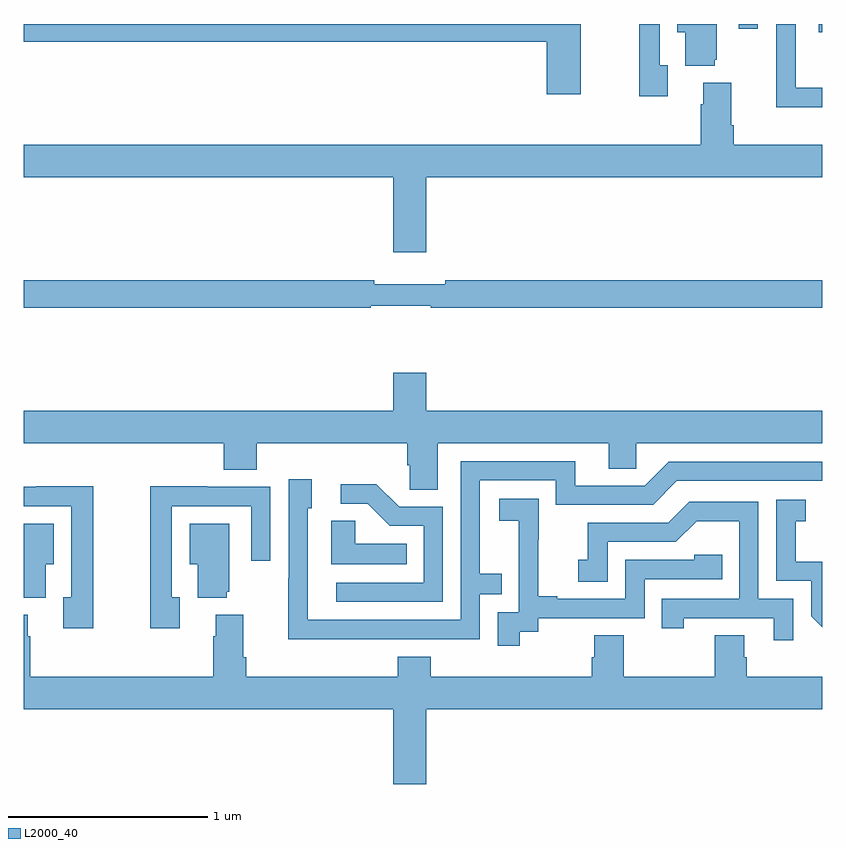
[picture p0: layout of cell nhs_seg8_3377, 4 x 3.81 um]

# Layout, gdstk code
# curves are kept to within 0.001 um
import gdstk
lib = gdstk.Library(unit=1e-6, precision=1e-09)
def R(c, l, rs):  # rectangles x0, y0, x1, y1
    for r in rs: c.add(gdstk.rectangle(r[:2], r[2:], *l))
def P(c, l, *ps):  # polygons
    for p in ps: c.add(gdstk.Polygon(p, *l))
L2000_40 = (2000, 40)

nhs_seg8_3377 = lib.new_cell('nhs_seg8_3377')
R(nhs_seg8_3377, L2000_40, [(322.982,1151.858,323,1151.9), (322.581,1151.877,322.677,1151.9)])
P(nhs_seg8_3377, L2000_40, [(322.46,1151.721),(322.471,1151.721),(322.471,1151.9),(322.274,1151.9),(322.274,1151.858),(322.313,1151.858),(322.313,1151.69),(322.46,1151.69)],
  [(321.79,1151.9),(319,1151.9),(319,1151.812),(321.62,1151.812),(321.62,1151.547),(321.79,1151.547)],
  [(322.225,1151.694),(322.185,1151.694),(322.185,1151.9),(322.084,1151.9),(322.084,1151.538),(322.225,1151.538)],
  [(323,1151.58),(322.866,1151.58),(322.866,1151.9),(322.77,1151.9),(322.77,1151.789),(322.768,1151.789),(322.768,1151.483),(323,1151.483)],
  [(321.016,1151.132),(323,1151.132),(323,1151.296),(322.556,1151.296),(322.556,1151.392),(322.543,1151.392),(322.543,1151.605),(322.403,1151.605),(322.403,1151.498),(322.391,1151.498),(322.391,1151.296),(319,1151.296),(319,1151.132),(320.852,1151.132),(320.852,1150.758),(321.016,1150.758)],
  [(320.738,1150.488),(321.038,1150.488),(321.038,1150.48),(323,1150.48),(323,1150.616),(321.112,1150.616),(321.112,1150.597),(320.756,1150.597),(320.756,1150.616),(319,1150.616),(319,1150.48),(320.738,1150.48)],
  [(321.073,1149.8),(321.929,1149.8),(321.929,1149.673),(322.068,1149.673),(322.068,1149.8),(323,1149.8),(323,1149.964),(321.016,1149.964),(321.016,1150.153),(320.852,1150.153),(320.852,1149.964),(319,1149.964),(319,1149.8),(320.003,1149.8),(320.003,1149.667),(320.168,1149.667),(320.168,1149.8),(320.921,1149.8),(320.921,1149.691),(320.934,1149.691),(320.934,1149.568),(321.073,1149.568)],
  [(320.789,1148.82),(321.285,1148.82),(321.285,1149.045),(321.395,1149.045),(321.395,1149.146),(321.285,1149.146),(321.285,1149.615),(321.666,1149.615),(321.666,1149.492),(322.152,1149.492),(322.272,1149.612),(323,1149.612),(323,1149.708),(322.23,1149.708),(322.11,1149.588),(321.763,1149.588),(321.763,1149.711),(321.189,1149.711),(321.189,1148.916),(320.424,1148.916),(320.424,1149.474),(320.443,1149.474),(320.443,1149.619),(320.328,1149.619),(320.328,1149.125),(320.326,1149.125),(320.326,1148.819)],
  [(321.099,1149.483),(320.88,1149.483),(320.767,1149.596),(320.589,1149.596),(320.589,1149.498),(320.723,1149.498),(320.834,1149.387),(321.003,1149.387),(321.003,1149.102),(320.565,1149.102),(320.565,1149.006),(321.099,1149.006)],
  [(319.348,1149.584),(319.063,1149.584),(319.063,1149.582),(319,1149.582),(319,1149.486),(319.239,1149.486),(319.239,1149.03),(319.199,1149.03),(319.199,1148.874),(319.348,1148.874)],
  [(319.783,1149.03),(319.743,1149.03),(319.743,1149.486),(320.139,1149.486),(320.139,1149.213),(320.235,1149.213),(320.235,1149.582),(319.919,1149.582),(319.919,1149.584),(319.635,1149.584),(319.635,1148.874),(319.783,1148.874)],
  [(321.484,1148.857),(321.576,1148.857),(321.576,1148.925),(322.11,1148.925),(322.11,1149.12),(322.499,1149.12),(322.499,1149.243),(322.359,1149.243),(322.359,1149.216),(322.014,1149.216),(322.014,1149.021),(321.673,1149.021),(321.673,1149.034),(321.578,1149.034),(321.578,1149.317),(321.579,1149.317),(321.579,1149.523),(321.381,1149.523),(321.381,1149.413),(321.479,1149.413),(321.479,1149.185),(321.48,1149.185),(321.48,1148.955),(321.375,1148.955),(321.375,1148.787),(321.484,1148.787)],
  [(323,1149.207),(322.867,1149.207),(322.867,1149.411),(322.916,1149.411),(322.916,1149.517),(322.77,1149.517),(322.77,1149.111),(322.944,1149.111),(322.944,1148.934),(323,1148.879)],
  [(322.854,1149.021),(322.68,1149.021),(322.68,1149.507),(322.334,1149.507),(322.229,1149.402),(321.826,1149.402),(321.826,1149.217),(321.777,1149.217),(321.777,1149.108),(321.924,1149.108),(321.924,1149.306),(322.266,1149.306),(322.37,1149.41),(322.584,1149.41),(322.584,1149.021),(322.195,1149.021),(322.195,1148.874),(322.306,1148.874),(322.306,1148.925),(322.757,1148.925),(322.757,1148.814),(322.854,1148.814)],
  [(320.918,1149.298),(320.661,1149.298),(320.661,1149.413),(320.54,1149.413),(320.54,1149.194),(320.918,1149.194)],
  [(320.018,1149.057),(320.029,1149.057),(320.029,1149.397),(319.832,1149.397),(319.832,1149.194),(319.871,1149.194),(319.871,1149.026),(320.018,1149.026)],
  [(319.111,1149.194),(319.15,1149.194),(319.15,1149.397),(319,1149.397),(319,1149.026),(319.111,1149.026)],
  [(319.961,1148.941),(319.961,1148.834),(319.949,1148.834),(319.949,1148.632),(319.034,1148.632),(319.034,1148.834),(319.021,1148.834),(319.021,1148.941),(319,1148.941),(319,1148.468),(320.852,1148.468),(320.852,1148.094),(321.016,1148.094),(321.016,1148.468),(323,1148.468),(323,1148.632),(322.622,1148.632),(322.622,1148.73),(322.609,1148.73),(322.609,1148.84),(322.462,1148.84),(322.462,1148.632),(322.005,1148.632),(322.005,1148.84),(321.857,1148.84),(321.857,1148.73),(321.845,1148.73),(321.845,1148.632),(321.038,1148.632),(321.038,1148.731),(320.873,1148.731),(320.873,1148.632),(320.114,1148.632),(320.114,1148.728),(320.101,1148.728),(320.101,1148.941)])

lib.write_gds('nhs_seg8_3377.gds')
